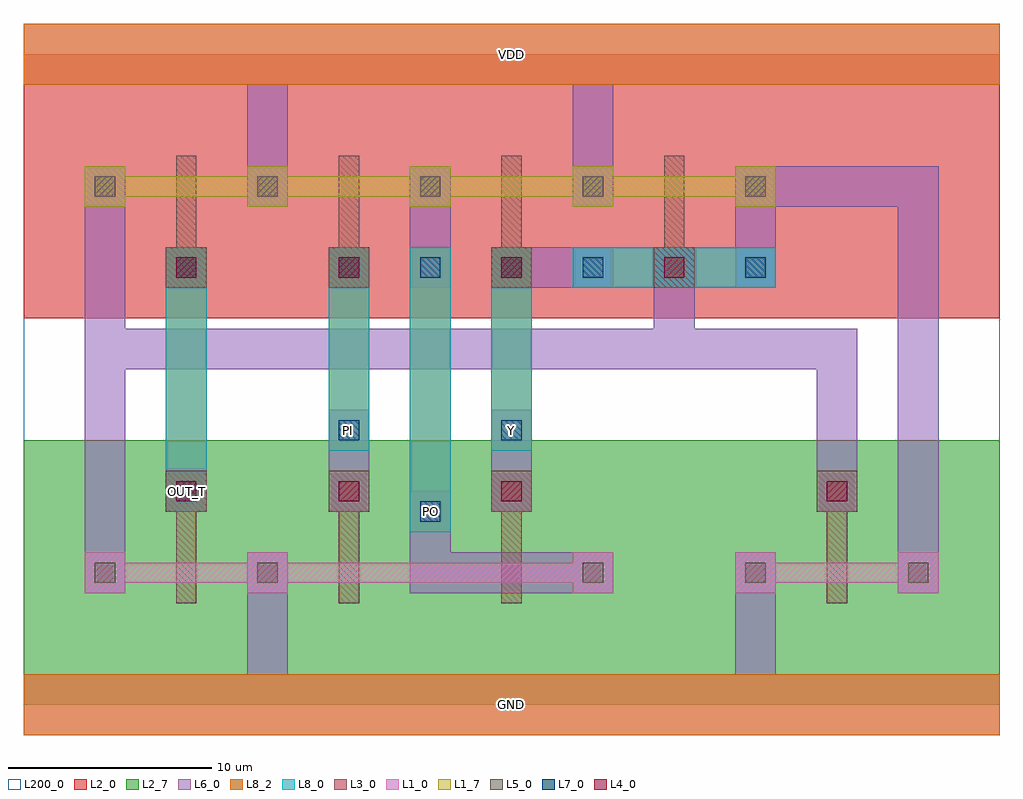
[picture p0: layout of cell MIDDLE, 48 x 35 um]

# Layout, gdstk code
import gdstk
lib = gdstk.Library(unit=1e-6, precision=1e-09)
def R(c, l, rs):  # rectangles x0, y0, x1, y1
    for r in rs: c.add(gdstk.rectangle(r[:2], r[2:], *l))
def A(c, l, x, y, w, h, nx, ny, dx, dy):  # array of equal rectangles
    R(c, l, [(x+i*dx, y+j*dy, x+i*dx+w, y+j*dy+h) for i in range(nx) for j in range(ny)])
def P(c, l, *ps):  # polygons
    for p in ps: c.add(gdstk.Polygon(p, *l))
L1_0 = (1, 0)
L1_7 = (1, 7)
L2_0 = (2, 0)
L2_7 = (2, 7)
L3_0 = (3, 0)
L4_0 = (4, 0)
L5_0 = (5, 0)
L6_0 = (6, 0)
L7_0 = (7, 0)
L8_0 = (8, 0)
L8_2 = (8, 2)
L200_0 = (200, 0)

middle = lib.new_cell('MIDDLE')
P(middle, L1_0, [(3,5.5),(3,7.5),(5,7.5),(5,7),(11,7),(11,7.5),(13,7.5),(13,7),(27,7),(27,7.5),(29,7.5),(29,5.5),(27,5.5),(27,6),(13,6),(13,5.5),(11,5.5),(11,6),(5,6),(5,5.5)],
  [(35,5.5),(35,7.5),(37,7.5),(37,7),(43,7),(43,7.5),(45,7.5),(45,5.5),(43,5.5),(43,6),(37,6),(37,5.5)])
P(middle, L1_7, [(3,24.5),(3,26.5),(5,26.5),(5,26),(11,26),(11,26.5),(13,26.5),(13,26),(19,26),(19,26.5),(21,26.5),(21,26),(27,26),(27,26.5),(29,26.5),(29,26),(35,26),(35,26.5),(37,26.5),(37,24.5),(35,24.5),(35,25),(29,25),(29,24.5),(27,24.5),(27,25),(21,25),(21,24.5),(19,24.5),(19,25),(13,25),(13,24.5),(11,24.5),(11,25),(5,25),(5,24.5)])
R(middle, L2_0, [(0,19,48,32)])
R(middle, L2_7, [(0,0,48,13)])
P(middle, L3_0, [(7.5,5),(7.5,9.5),(7,9.5),(7,11.5),(9,11.5),(9,9.5),(8.5,9.5),(8.5,5)],
  [(15.5,5),(15.5,9.5),(15,9.5),(15,11.5),(17,11.5),(17,9.5),(16.5,9.5),(16.5,5)],
  [(23.5,5),(23.5,9.5),(23,9.5),(23,11.5),(25,11.5),(25,9.5),(24.5,9.5),(24.5,5)],
  [(39.5,5),(39.5,9.5),(39,9.5),(39,11.5),(41,11.5),(41,9.5),(40.5,9.5),(40.5,5)],
  [(7,20.5),(7,22.5),(7.5,22.5),(7.5,27),(8.5,27),(8.5,22.5),(9,22.5),(9,20.5)],
  [(15,20.5),(15,22.5),(15.5,22.5),(15.5,27),(16.5,27),(16.5,22.5),(17,22.5),(17,20.5)],
  [(23,20.5),(23,22.5),(23.5,22.5),(23.5,27),(24.5,27),(24.5,22.5),(25,22.5),(25,20.5)],
  [(31,20.5),(31,22.5),(31.5,22.5),(31.5,27),(32.5,27),(32.5,22.5),(33,22.5),(33,20.5)])
A(middle, L4_0, 7.5, 10, 1, 1, 3, 1, 8, 0)
A(middle, L4_0, 7.5, 21, 1, 1, 4, 1, 8, 0)
R(middle, L4_0, [(39.5,10,40.5,11)])
A(middle, L5_0, 27.5, 6, 1, 1, 3, 1, 8, 0)
A(middle, L5_0, 3.5, 25, 1, 1, 5, 1, 8, 0)
R(middle, L5_0, [(3.5,6,4.5,7), (11.5,6,12.5,7)])
R(middle, L6_0, [(7,9.5,9,11.5), (15,9.5,17,14.5), (23,9.5,25,14.5), (7,20.5,9,22.5), (15,20.5,17,22.5), (19,20.5,21,26.5), (23,20.5,29,22.5)])
P(middle, L6_0, [(0,-1.5),(0,1.5),(11,1.5),(11,7.5),(13,7.5),(13,1.5),(35,1.5),(35,7.5),(37,7.5),(37,1.5),(48,1.5),(48,-1.5)],
  [(19,5.5),(19,10.5),(21,10.5),(21,7.5),(29,7.5),(29,5.5)],
  [(3,5.5),(3,26.5),(5,26.5),(5,18.5),(31,18.5),(31,22.5),(33,22.5),(33,18.5),(41,18.5),(41,9.5),(39,9.5),(39,16.5),(5,16.5),(5,5.5)],
  [(43,5.5),(43,24.5),(37,24.5),(37,20.5),(35,20.5),(35,26.5),(45,26.5),(45,5.5)],
  [(11,24.5),(11,30.5),(0,30.5),(0,33.5),(48,33.5),(48,30.5),(29,30.5),(29,24.5),(27,24.5),(27,30.5),(13,30.5),(13,24.5)])
A(middle, L7_0, 15.5, 21, 1, 1, 4, 1, 4, 0)
R(middle, L7_0, [(19.5,9,20.5,10), (7.5,10,8.5,11), (15.5,13,16.5,14), (23.5,13,24.5,14), (7.5,21,8.5,22), (35.5,21,36.5,22)])
R(middle, L8_0, [(19,8.5,21,22.5), (7,9.5,9,22.5), (15,12.5,17,22.5), (23,12.5,25,22.5), (27,20.5,37,22.5)])
R(middle, L8_2, [(19,8.5,21,22.5), (7,9.5,9,22.5), (15,12.5,17,22.5), (23,12.5,25,22.5)])
R(middle, L200_0, [(0,0,48,32)])
middle.add(gdstk.FlexPath([(0,32),(48,32)], 3, ends="flush", simple_path=True, layer=8, datatype=2))  # L8_2
middle.add(gdstk.FlexPath([(0,0),(48,0)], 3, ends="flush", simple_path=True, layer=8, datatype=2))  # L8_2
middle.add(gdstk.Label('GND', (24,0), layer=6, texttype=1))
middle.add(gdstk.Label('VDD', (24,32), layer=6, texttype=1))
middle.add(gdstk.Label('PO', (20,9.5), layer=8, texttype=1))
middle.add(gdstk.Label('Y', (24,13.5), layer=8, texttype=1))
middle.add(gdstk.Label('OUT_T', (8,10.5), layer=8, texttype=1))
middle.add(gdstk.Label('PI', (16,13.5), layer=8, texttype=1))

lib.write_gds('MIDDLE.gds')
